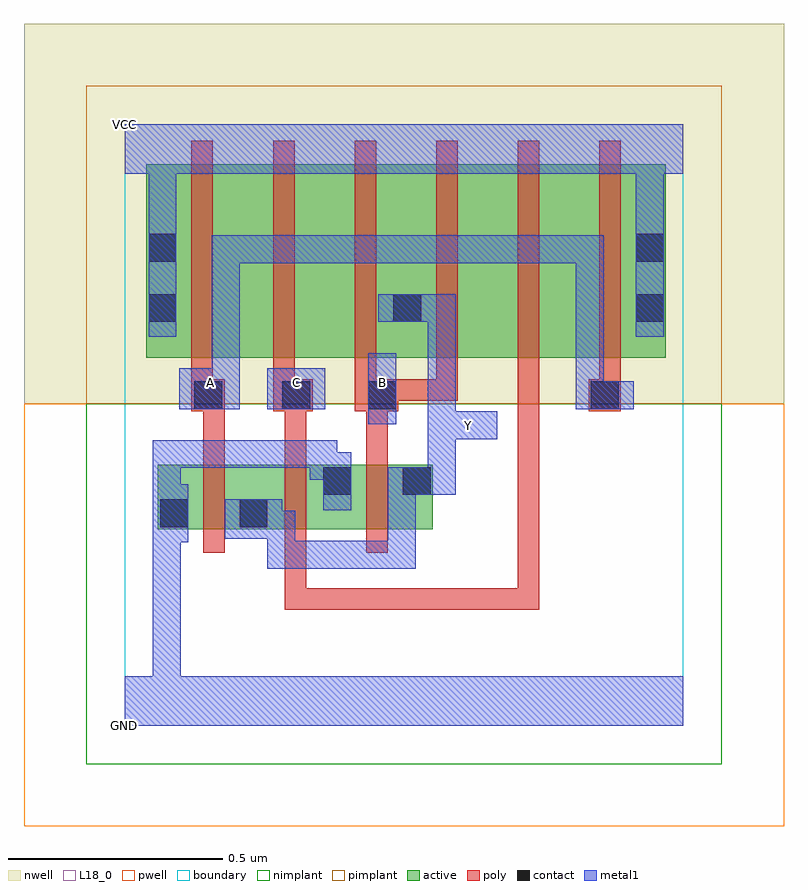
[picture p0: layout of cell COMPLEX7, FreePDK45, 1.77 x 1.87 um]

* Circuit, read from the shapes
.subckt COMPLEX7 A B C GND VCC Y
M1 Y A GND VSUBS nfet w=0.15u l=0.05u
M2 GND C Y VSUBS nfet w=0.15u l=0.05u
M3 Y B GND VSUBS nfet w=0.15u l=0.05u
M4 n1 A VCC n2 pfet w=0.45u l=0.05u
M5 n3 C n1 n2 pfet w=0.45u l=0.05u
M6 Y B n3 n2 pfet w=0.45u l=0.05u
M7 n4 B Y n2 pfet w=0.45u l=0.05u
M8 n5 C n4 n2 pfet w=0.45u l=0.05u
M9 VCC A n5 n2 pfet w=0.45u l=0.05u
.ends

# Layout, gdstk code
import gdstk
lib = gdstk.Library(unit=1e-6, precision=1e-09)
def R(c, l, rs):  # rectangles x0, y0, x1, y1
    for r in rs: c.add(gdstk.rectangle(r[:2], r[2:], *l))
def A(c, l, x, y, w, h, nx, ny, dx, dy):  # array of equal rectangles
    R(c, l, [(x+i*dx, y+j*dy, x+i*dx+w, y+j*dy+h) for i in range(nx) for j in range(ny)])
active = (1, 0)
pwell = (2, 0)
nwell = (3, 0)
nimplant = (4, 0)
pimplant = (5, 0)
poly = (9, 0)
contact = (10, 0)
metal1 = (11, 0)
L18_0 = (18, 0)
boundary = (235, 0)

complex7 = lib.new_cell('COMPLEX7')
R(complex7, active, [(0.077,0.457,0.337,0.607), (0.077,0.457,0.152,0.607), (0.262,0.457,0.532,0.607), (0.262,0.457,0.337,0.547), (0.457,0.457,0.717,0.607), (0.457,0.532,0.532,0.607), (0.642,0.532,0.717,0.607), (0.05,0.857,0.125,1.307), (0.05,0.857,0.275,1.307), (0.275,0.857,0.465,1.307), (0.465,0.857,0.695,1.307), (0.62,0.857,0.845,1.307), (0.62,0.857,0.695,1.07), (0.845,0.857,1.035,1.307), (1.035,0.857,1.26,1.307), (1.185,0.857,1.26,1.307)])
R(complex7, pwell, [(-0.235,-0.235,1.535,0.75)])
R(complex7, nwell, [(-0.235,0.75,1.535,1.635)])
R(complex7, nimplant, [(-0.09,-0.09,1.39,0.75)])
R(complex7, pimplant, [(-0.09,0.75,1.39,1.49)])
A(complex7, poly, 0.182, 0.402, 0.05, 0.26, 3, 1, 0.19, 0)
A(complex7, poly, 0.182, 0.612, 0.05, 0.17, 3, 1, 0.19, 0)
A(complex7, poly, 0.155, 0.757, 0.05, 0.095, 4, 1, 0.19, 0)
A(complex7, poly, 0.155, 0.802, 0.05, 0.56, 6, 1, 0.19, 0)
R(complex7, poly, [(0.372,0.27,0.422,0.32), (0.372,0.27,0.422,0.32), (0.372,0.27,0.422,0.32), (0.372,0.27,0.642,0.32), (0.372,0.27,0.422,0.452), (0.592,0.27,0.642,0.32), (0.592,0.27,0.642,0.32), (0.592,0.27,0.642,0.32), (0.592,0.27,0.832,0.32), (0.782,0.27,0.832,0.32), (0.782,0.27,0.832,0.32), (0.782,0.27,0.832,0.32), (0.782,0.27,0.965,0.32), (0.915,0.27,0.965,0.852), (0.915,0.27,0.965,0.32), (0.915,0.27,0.965,0.32), (0.915,0.27,0.965,0.32), (0.915,0.27,0.965,0.32), (0.915,0.27,0.965,0.32), (0.915,0.27,0.965,0.32), (0.915,0.27,0.965,0.32), (0.155,0.732,0.232,0.807), (0.345,0.732,0.437,0.807), (0.535,0.732,0.637,0.807), (1.08,0.732,1.155,0.807), (0.587,0.757,0.775,0.807), (0.725,0.757,0.775,0.807), (0.725,0.757,0.775,0.807), (0.725,0.757,0.775,0.807), (1.105,0.757,1.155,0.852)])
R(complex7, contact, [(0.082,0.462,0.147,0.527), (0.267,0.462,0.332,0.527), (0.462,0.537,0.527,0.602), (0.647,0.537,0.712,0.602), (0.162,0.737,0.227,0.802), (0.367,0.737,0.432,0.802), (0.567,0.737,0.632,0.802), (1.085,0.737,1.15,0.802), (0.055,0.94,0.12,1.005), (0.625,0.94,0.69,1.005), (1.19,0.94,1.255,1.005), (0.055,1.08,0.12,1.145), (1.19,1.08,1.255,1.145)])
R(complex7, metal1, [(0,0,1.3,0.115), (0.065,0.05,0.13,0.115), (0.065,0.05,0.13,0.115), (0.065,0.05,0.13,0.492), (0.332,0.365,0.397,0.5), (0.332,0.365,0.505,0.43), (0.44,0.365,0.505,0.43), (0.44,0.365,0.677,0.43), (0.612,0.365,0.677,0.43), (0.612,0.365,0.677,0.43), (0.612,0.365,0.677,0.43), (0.612,0.365,0.677,0.602), (0.065,0.427,0.13,0.492), (0.065,0.427,0.13,0.492), (0.065,0.427,0.13,0.492), (0.065,0.427,0.13,0.492), (0.065,0.427,0.147,0.562), (0.232,0.435,0.367,0.527), (0.302,0.435,0.397,0.5), (0.065,0.497,0.13,0.665), (0.462,0.502,0.527,0.637), (0.612,0.537,0.77,0.602), (0.705,0.537,0.77,0.732), (0.43,0.572,0.527,0.637), (0.43,0.572,0.495,0.665), (0.065,0.6,0.13,0.665), (0.065,0.6,0.13,0.665), (0.065,0.6,0.13,0.665), (0.065,0.6,0.367,0.665), (0.302,0.6,0.367,0.665), (0.302,0.6,0.495,0.665), (0.705,0.667,0.77,1.005), (0.705,0.667,0.867,0.732), (0.567,0.702,0.632,0.867), (0.127,0.737,0.267,0.832), (0.332,0.737,0.467,0.832), (1.05,0.737,1.115,0.802), (1.05,0.737,1.115,0.802), (1.05,0.737,1.185,0.802), (1.05,0.737,1.115,1.142), (0.202,0.767,0.267,0.832), (0.202,0.767,0.267,0.832), (0.202,0.767,0.267,1.142), (0.055,0.905,0.12,1.18), (1.19,0.905,1.255,1.18), (0.59,0.94,0.77,1.005), (0.202,1.077,0.267,1.142), (0.202,1.077,0.495,1.142), (0.43,1.077,0.495,1.142), (0.43,1.077,0.517,1.142), (0.452,1.077,0.517,1.142), (0.452,1.077,0.517,1.142), (0.452,1.077,0.517,1.142), (0.452,1.077,0.702,1.142), (0.637,1.077,0.702,1.142), (0.637,1.077,0.84,1.142), (0.775,1.077,0.84,1.142), (0.775,1.077,0.84,1.142), (0.775,1.077,0.84,1.142), (0.775,1.077,0.977,1.142), (0.912,1.077,0.977,1.142), (0.912,1.077,0.977,1.142), (0.912,1.077,0.977,1.142), (0.912,1.077,0.977,1.142), (0.912,1.077,0.977,1.142), (0.912,1.077,1.115,1.142), (1.05,1.077,1.115,1.142), (0.055,1.115,0.12,1.35), (1.19,1.115,1.255,1.35), (0,1.285,1.3,1.4)])
R(complex7, L18_0, [(0,0,1.3,0.115), (0.065,0.05,0.13,0.115), (0.065,0.05,0.13,0.115), (0.065,0.05,0.13,0.492), (0.332,0.365,0.397,0.5), (0.332,0.365,0.505,0.43), (0.44,0.365,0.505,0.43), (0.44,0.365,0.677,0.43), (0.612,0.365,0.677,0.43), (0.612,0.365,0.677,0.43), (0.612,0.365,0.677,0.43), (0.612,0.365,0.677,0.602), (0.065,0.427,0.13,0.492), (0.065,0.427,0.13,0.492), (0.065,0.427,0.13,0.492), (0.065,0.427,0.13,0.492), (0.065,0.427,0.147,0.562), (0.232,0.435,0.367,0.527), (0.302,0.435,0.397,0.5), (0.065,0.497,0.13,0.665), (0.462,0.502,0.527,0.637), (0.612,0.537,0.77,0.602), (0.705,0.537,0.77,0.732), (0.43,0.572,0.495,0.665), (0.43,0.572,0.527,0.637), (0.065,0.6,0.13,0.665), (0.065,0.6,0.13,0.665), (0.065,0.6,0.13,0.665), (0.065,0.6,0.367,0.665), (0.302,0.6,0.367,0.665), (0.302,0.6,0.495,0.665), (0.705,0.667,0.867,0.732), (0.705,0.667,0.77,1.005), (0.767,0.667,0.832,0.732), (0.567,0.702,0.632,0.867), (0.127,0.737,0.267,0.832), (0.332,0.737,0.467,0.832), (1.05,0.737,1.115,0.802), (1.05,0.737,1.115,0.802), (1.05,0.737,1.115,1.142), (1.05,0.737,1.185,0.802), (0.167,0.767,0.232,0.832), (0.202,0.767,0.267,0.832), (0.202,0.767,0.267,0.832), (0.202,0.767,0.267,1.142), (0.367,0.767,0.432,0.832), (0.567,0.767,0.632,0.832), (0.055,0.905,0.12,1.18), (1.19,0.905,1.255,1.18), (0.59,0.94,0.77,1.005), (0.202,1.077,0.267,1.142), (0.202,1.077,0.495,1.142), (0.43,1.077,0.495,1.142), (0.43,1.077,0.517,1.142), (0.452,1.077,0.517,1.142), (0.452,1.077,0.517,1.142), (0.452,1.077,0.517,1.142), (0.452,1.077,0.702,1.142), (0.637,1.077,0.702,1.142), (0.637,1.077,0.84,1.142), (0.775,1.077,0.84,1.142), (0.775,1.077,0.84,1.142), (0.775,1.077,0.84,1.142), (0.775,1.077,0.977,1.142), (0.912,1.077,0.977,1.142), (0.912,1.077,0.977,1.142), (0.912,1.077,0.977,1.142), (0.912,1.077,0.977,1.142), (0.912,1.077,0.977,1.142), (0.912,1.077,1.115,1.142), (1.05,1.077,1.115,1.142), (0.055,1.115,0.12,1.35), (1.19,1.115,1.255,1.35), (0,1.285,1.3,1.4)])
R(complex7, boundary, [(0,0,1.3,1.4)])
complex7.add(gdstk.Label('A', (0.2,0.8), layer=11, texttype=0))
complex7.add(gdstk.Label('B', (0.6,0.8), layer=11, texttype=0))
complex7.add(gdstk.Label('C', (0.4,0.8), layer=11, texttype=0))
complex7.add(gdstk.Label('Y', (0.8,0.7), layer=11, texttype=0))
complex7.add(gdstk.Label('VCC', (0,1.4), layer=11, texttype=0))
complex7.add(gdstk.Label('GND', (0,0), layer=11, texttype=0))

lib.write_gds('COMPLEX7.gds')
